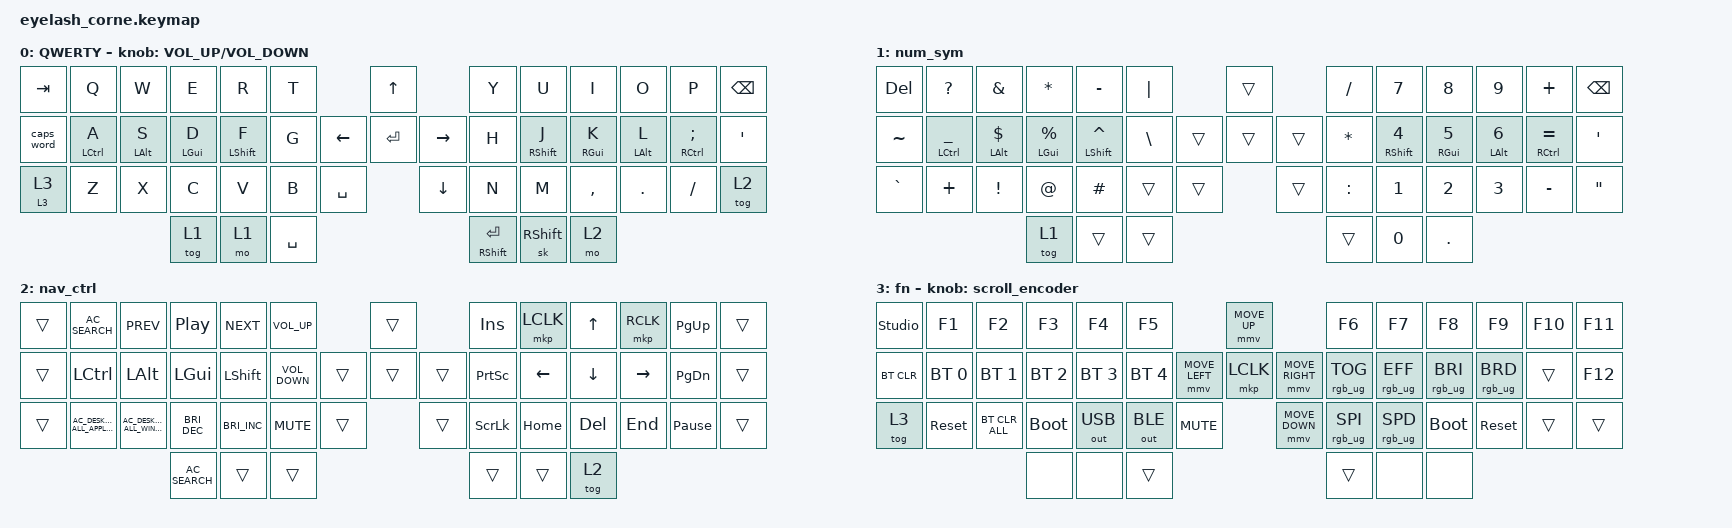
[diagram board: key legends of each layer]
#define ZMK_POINTING_DEFAULT_MOVE_VAL 1200  // 600
#define ZMK_POINTING_DEFAULT_SCRL_VAL 25   // 10

#include <input/processors.dtsi>
#include <zephyr/dt-bindings/input/input-event-codes.h>
#include <behaviors.dtsi>
#include <dt-bindings/zmk/bt.h>
#include <dt-bindings/zmk/keys.h>
#include <dt-bindings/zmk/outputs.h>
#include <dt-bindings/zmk/pointing.h>
#include <dt-bindings/zmk/rgb.h>

&mmv_input_listener { input-processors = <&zip_xy_scaler 2 1>; };

&msc_input_listener { input-processors = <&zip_scroll_scaler 2 1>; };

&msc {
    acceleration-exponent = <1>;      // 0
    time-to-max-speed-ms = <100>;       // 300
    delay-ms = <0>;                   // 0
};

&mmv {
    time-to-max-speed-ms = <500>;
    acceleration-exponent = <1>;
    trigger-period-ms = <16>;
};

&sk {
    quick-release;
    release-after-ms = <500>;
};

/ {
    behaviors {
        td0: td0 {
            compatible = "zmk,behavior-tap-dance";
            display-name = "Shift/Caps Lock Tap Dance";
            #binding-cells = <0>;
            bindings = <&kp LEFT_SHIFT>, <&kp CAPS>;
        };

        mo_tog: momentary_hold_toggle_tap {
            compatible = "zmk,behavior-hold-tap";
            bindings = <&mo>, <&tog>;

            #binding-cells = <2>;
            tapping-term-ms = <200>;
            label = "momentary hold toggle tap";
        };

        hml: left_homerow_mods {
            compatible = "zmk,behavior-hold-tap";
            label = "left home row mods";
            bindings = <&kp>, <&kp>;

            #binding-cells = <2>;
            tapping-term-ms = <280>;
            quick-tap-ms = <175>;
            require-prior-idle-ms = <125>;
            flavor = "balanced";
            hold-trigger-key-positions = <0 1 2 3 4 5 13 14 15 16 17 18 28 29 30 31 32 33 42 43 44>;
            hold-trigger-on-release;
        };

        hmr: right_homerow_mods {
            compatible = "zmk,behavior-hold-tap";
            label = "right home row mods";
            bindings = <&kp>, <&kp>;

            #binding-cells = <2>;
            tapping-term-ms = <280>;
            quick-tap-ms = <175>;
            require-prior-idle-ms = <125>;
            flavor = "balanced";
            hold-trigger-key-positions = <7 8 9 10 11 12 22 23 24 25 26 27 36 37 38 39 40 41 46 47 45>;
            hold-trigger-on-release;
        };
    };

    rgb_encoder: rgb_encoder {
        compatible = "zmk,behavior-sensor-rotate";
        #sensor-binding-cells = <0>;
        bindings = <&rgb_ug RGB_BRI>, <&rgb_ug RGB_BRD>;
    };

    scroll_encoder: scroll_encoder {
        compatible = "zmk,behavior-sensor-rotate";
        #sensor-binding-cells = <0>;
        bindings = <&msc SCRL_DOWN>, <&msc SCRL_UP>;

        tap-ms = <100>;
    };

    combos {
        compatible = "zmk,combos";

        Left_Parenthesis {
            bindings = <&kp LEFT_PARENTHESIS>;
            key-positions = <4 3>;
            layers = <0 1>;
        };

        Right_Parenthesis {
            bindings = <&kp RIGHT_PARENTHESIS>;
            key-positions = <8 9>;
            layers = <0 1>;
        };

        Left_Bracket {
            bindings = <&kp LEFT_BRACKET>;
            key-positions = <17 16>;
            layers = <0 1>;
        };

        Right_Bracket {
            bindings = <&kp RIGHT_BRACKET>;
            key-positions = <23 24>;
            layers = <0 1>;
        };

        Left_Brace {
            bindings = <&kp LEFT_BRACE>;
            key-positions = <32 31>;
            layers = <0 1>;
        };

        Right_Brace {
            bindings = <&kp RIGHT_BRACE>;
            key-positions = <37 38>;
            layers = <0 1>;
        };

        Escape {
            bindings = <&kp ESCAPE>;
            key-positions = <1 2>;
            layers = <0>;
        };

        Less_Than {
            bindings = <&kp LESS_THAN>;
            key-positions = <16 15>;
            layers = <0 1>;
        };

        Greater_Than {
            bindings = <&kp GREATER_THAN>;
            key-positions = <24 25>;
            layers = <0 1>;
        };
    };

    keymap {
        compatible = "zmk,keymap";

        default_layer {
            display-name = "QWERTY";
            bindings = <
&kp TAB      &kp Q                &kp W            &kp E            &kp R              &kp T                             &kp UP                &kp Y                  &kp U               &kp I             &kp O            &kp P                    &kp BSPC
&caps_word   &hml LEFT_CONTROL A  &hml LEFT_ALT S  &hml LEFT_GUI D  &hml LEFT_SHIFT F  &kp G                   &kp LEFT  &kp ENTER  &kp RIGHT  &kp H                  &hmr RIGHT_SHIFT J  &hmr RIGHT_GUI K  &hmr LEFT_ALT L  &hmr RIGHT_CONTROL SEMI  &kp SQT
&mo_tog 3 3  &kp Z                &kp X            &kp C            &kp V              &kp B      &kp SPACE              &kp DOWN              &kp N                  &kp M               &kp COMMA         &kp DOT          &kp FSLH                 &tog 2
                                                   &tog 1           &mo 1              &kp SPACE                                               &mt RIGHT_SHIFT ENTER  &sk RIGHT_SHIFT     &mo 2
            >;

            sensor-bindings = <&inc_dec_kp C_VOLUME_UP C_VOLUME_DOWN>;
        };

        lower_layer {
            display-name = "num_sym";
            bindings = <
&kp DELETE  &kp QUESTION                  &kp AMPERSAND         &kp ASTERISK           &kp MINUS              &kp PIPE                         &trans          &kp SLASH  &kp N7               &kp N8             &kp N9            &kp PLUS                  &kp BACKSPACE
&kp TILDE   &hml LEFT_CONTROL UNDERSCORE  &hml LEFT_ALT DOLLAR  &hml LEFT_GUI PERCENT  &hml LEFT_SHIFT CARET  &kp BACKSLASH            &trans  &trans  &trans  &kp ASTRK  &hmr RIGHT_SHIFT N4  &hmr RIGHT_GUI N5  &hmr LEFT_ALT N6  &hmr RIGHT_CONTROL EQUAL  &kp SINGLE_QUOTE
&kp GRAVE   &kp PLUS                      &kp EXCLAMATION       &kp AT                 &kp HASH               &trans         &trans            &trans          &kp COLON  &kp N1               &kp N2             &kp N3            &kp MINUS                 &kp DOUBLE_QUOTES
                                                                &tog 1                 &trans                 &trans                                           &trans     &kp N0               &kp DOT
            >;
        };

        raise_layer {
            display-name = "nav_ctrl";
            bindings = <
&trans  &kp C_AC_SEARCH                         &kp C_PREV                         &kp C_PLAY_PAUSE      &kp C_NEXT            &kp C_VOLUME_UP                      &trans          &kp INSERT      &mkp LCLK  &kp UP_ARROW    &mkp RCLK        &kp PG_UP        &trans
&trans  &kp LEFT_CONTROL                        &kp LEFT_ALT                       &kp LEFT_GUI          &kp LEFT_SHIFT        &kp C_VOLUME_DOWN            &trans  &trans  &trans  &kp PSCRN       &kp LEFT   &kp DOWN_ARROW  &kp RIGHT_ARROW  &kp PAGE_DOWN    &trans
&trans  &kp C_AC_DESKTOP_SHOW_ALL_APPLICATIONS  &kp C_AC_DESKTOP_SHOW_ALL_WINDOWS  &kp C_BRIGHTNESS_DEC  &kp C_BRIGHTNESS_INC  &kp K_MUTE         &trans            &trans          &kp SCROLLLOCK  &kp HOME   &kp DEL         &kp END          &kp PAUSE_BREAK  &trans
                                                                                   &kp C_AC_SEARCH       &trans                &trans                                               &trans          &trans     &tog 2
            >;
        };

        fn {
            display-name = "fn";
            bindings = <
&studio_unlock  &kp F1        &kp F2          &kp F3        &kp F4        &kp F5                                      &mmv MOVE_UP                     &kp F6           &kp F7           &kp F8           &kp F9           &kp F10  &kp F11
&bt BT_CLR      &bt BT_SEL 0  &bt BT_SEL 1    &bt BT_SEL 2  &bt BT_SEL 3  &bt BT_SEL 4                &mmv MOVE_LEFT  &mkp LCLK       &mmv MOVE_RIGHT  &rgb_ug RGB_TOG  &rgb_ug RGB_EFF  &rgb_ug RGB_BRI  &rgb_ug RGB_BRD  &trans   &kp F12
&tog 3          &sys_reset    &bt BT_CLR_ALL  &bootloader   &out OUT_USB  &out OUT_BLE  &kp C_MUTE                    &mmv MOVE_DOWN                   &rgb_ug RGB_SPI  &rgb_ug RGB_SPD  &bootloader      &sys_reset       &trans   &trans
                                              &none         &none         &trans                                                                       &trans           &none            &none
            >;

            sensor-bindings = <&scroll_encoder>;
        };
    };

    conditional_layers { compatible = "zmk,conditional-layers"; };
};
